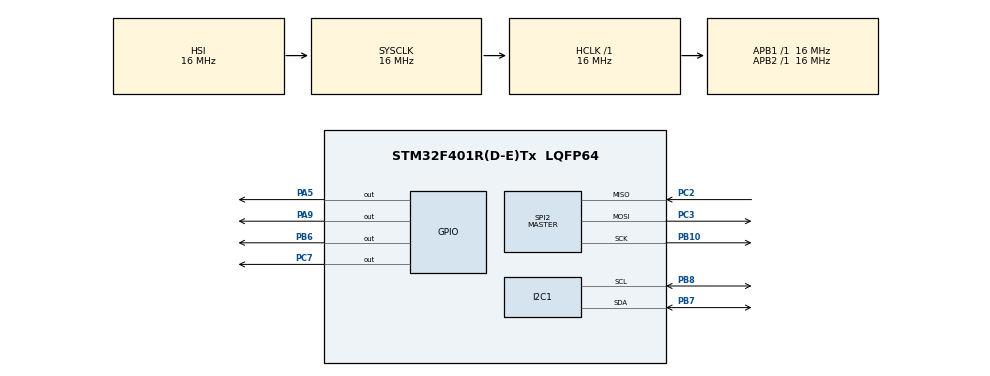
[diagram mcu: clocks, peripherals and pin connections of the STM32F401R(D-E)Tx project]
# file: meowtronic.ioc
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Dma.I2C1_TX.0.Direction=DMA_MEMORY_TO_PERIPH
Dma.I2C1_TX.0.FIFOMode=DMA_FIFOMODE_DISABLE
Dma.I2C1_TX.0.Instance=DMA1_Stream6
Dma.I2C1_TX.0.MemDataAlignment=DMA_MDATAALIGN_BYTE
Dma.I2C1_TX.0.MemInc=DMA_MINC_ENABLE
Dma.I2C1_TX.0.Mode=DMA_NORMAL
Dma.I2C1_TX.0.PeriphDataAlignment=DMA_PDATAALIGN_BYTE
Dma.I2C1_TX.0.PeriphInc=DMA_PINC_DISABLE
Dma.I2C1_TX.0.Priority=DMA_PRIORITY_LOW
Dma.Request0=I2C1_TX
Mcu.Family=STM32F4
Mcu.Name=STM32F401R(D-E)Tx
Mcu.Package=LQFP64
NVIC.DMA1_Stream6_IRQn=true\:0\:0\:false\:false\:true\:false\:true\:true
NVIC.I2C1_ER_IRQn=true\:0\:0\:false\:false\:true\:true\:true\:true
NVIC.I2C1_EV_IRQn=true\:0\:0\:false\:false\:true\:true\:true\:true
NVIC.PriorityGroup=NVIC_PRIORITYGROUP_4
PA13.Mode=Trace_Asynchronous_SW
PA13.Signal=SYS_JTMS-SWDIO
PA14.Mode=Trace_Asynchronous_SW
PA14.Signal=SYS_JTCK-SWCLK
PA5.Signal=GPIO_Output
PA9.Signal=GPIO_Output
PB10.Mode=Full_Duplex_Master
PB10.Signal=SPI2_SCK
PB3.Mode=Trace_Asynchronous_SW
PB3.Signal=SYS_JTDO-SWO
PB6.Signal=GPIO_Output
PB7.GPIO_Pu=GPIO_PULLUP
PB7.Mode=I2C
PB7.Signal=I2C1_SDA
PB8.GPIO_Pu=GPIO_PULLUP
PB8.Mode=I2C
PB8.Signal=I2C1_SCL
PC2.Mode=Full_Duplex_Master
PC2.Signal=SPI2_MISO
PC3.Mode=Full_Duplex_Master
PC3.Signal=SPI2_MOSI
PC7.Signal=GPIO_Output
ProjectManager.HeapSize=0x200
ProjectManager.StackSize=0x400
ProjectManager.TargetToolchain=STM32CubeIDE
RCC.AHBFreq_Value=16000000
RCC.APB1Freq_Value=16000000
RCC.APB2Freq_Value=16000000
RCC.CortexFreq_Value=16000000
RCC.HSE_VALUE=25000000
RCC.HSI_VALUE=16000000
RCC.LSE_VALUE=32768
RCC.SYSCLKFreq_VALUE=16000000
RCC.VCOOutputFreq_Value=192000000
SPI2.BaudRatePrescaler=SPI_BAUDRATEPRESCALER_2
SPI2.CLKPolarity=SPI_POLARITY_HIGH
SPI2.Direction=SPI_DIRECTION_2LINES
SPI2.Mode=SPI_MODE_MASTER
SPI2.VirtualType=VM_MASTER
board=custom

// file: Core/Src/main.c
/* USER CODE BEGIN Header */
/**
  ******************************************************************************
  * @file           : main.c
  * @brief          : Main program body
  ******************************************************************************
  * @attention
  *
  * Copyright (c) 2025 STMicroelectronics.
  * All rights reserved.
  *
  * This software is licensed under terms that can be found in the LICENSE file
  * in the root directory of this software component.
  * If no LICENSE file comes with this software, it is provided AS-IS.
  *
  ******************************************************************************
  */
/* USER CODE END Header */
#include "main.h"

I2C_HandleTypeDef hi2c1;
DMA_HandleTypeDef hdma_i2c1_tx;

SPI_HandleTypeDef hspi2;

/* USER CODE BEGIN PV */
#define SCALE_FACTOR 2280.0

/* USER CODE END PV */

void SystemClock_Config(void);
static void MX_GPIO_Init(void);
static void MX_DMA_Init(void);
static void MX_SPI2_Init(void);
static void MX_I2C1_Init(void);

int main(void)
{

  /* MCU Configuration--------------------------------------------------------*/

  /* Reset of all peripherals, Initializes the Flash interface and the Systick. */
  HAL_Init();

  /* Configure the system clock */
  SystemClock_Config();

  /* Initialize all configured peripherals */
  MX_GPIO_Init();
  MX_DMA_Init();
  MX_SPI2_Init();
  MX_I2C1_Init();
  /* USER CODE BEGIN 2 */
  HAL_Delay(1000);

  HX711_Init();
  ST7789_Init();
  ST7789_Fill_Color(LGRAY);
  char display_buffer[50];

  // Data to send

  //ST7789_Test();

  /* USER CODE END 2 */

  void writeEEPROM(uint16_t mem_address, uint8_t device_adress, uint8_t *data, uint16_t size) {
      HAL_StatusTypeDef status;

      status = HAL_I2C_Mem_Write(&hi2c1, device_adress, mem_address, I2C_MEMADD_SIZE_16BIT, data, size, HAL_MAX_DELAY);
      if (status != HAL_OK) {
          // Handle error
          Error_Handler();
      }

      // Wait for EEPROM internal write cycle (~5 ms)
      HAL_Delay(5);
  }

  // Function to read data from EEPROM
  void readEEPROM(uint16_t mem_address, uint8_t device_address, uint8_t *data, uint16_t size) {
      HAL_StatusTypeDef status;

      status = HAL_I2C_Mem_Read(&hi2c1, device_address, mem_address, I2C_MEMADD_SIZE_16BIT, data, size, HAL_MAX_DELAY);
      if (status != HAL_OK) {
          // Handle error
          Error_Handler();
      }
  }

  /* Infinite loop */
  /* USER CODE BEGIN WHILE */
  uint16_t mem_adress = 0x0124;
  uint8_t device_adress = 0x50 << 1;
  uint8_t data[1] = "H";
  uint8_t read_data[1];

  int init_point = HX711_Calibrate();
  int32_t raw_value = 0;

  while (1)
  {
    /* USER CODE END WHILE */

    /* USER CODE BEGIN 3 */
	  HAL_GPIO_TogglePin(GPIOA, GPIO_PIN_5);
	  //HAL_GPIO_WritePin(HX711_CLK_GPIO_Port, HX711_CLK_Pin, GPIO_PIN_RESET);

	  HAL_Delay(1000);

      // Check if HX711 is ready
      if (HX711_IsReady()) {
          // Read raw data from HX711

    	  raw_value = HX711_Read();
    	  writeEEPROM(mem_adress, device_adress, data, 1);
    	  HAL_Delay(500);

    	  readEEPROM(mem_adress, device_adress, read_data, 1);

          // Convert raw value to weight using calibration
          int32_t weight = 1000*(float)(raw_value-init_point) / SCALE_FACTOR;
          sprintf(display_buffer, "Raw: %ld Wt: %ld", raw_value, weight);

          // Print the result (replace with appropriate display or output in your system)
          ST7789_WriteString(10, 10, display_buffer, Font_7x10, WHITE, LGRAY);
          sprintf(display_buffer, "First element: %c", read_data[0]);
          ST7789_WriteString(10, 20, display_buffer, Font_7x10, WHITE, LGRAY);
          printf(display_buffer);

          printf("Raw Value: %ld\tWeight: %ld mg\n", raw_value, weight);

          // Delay for readability (adjust as needed)
          HAL_Delay(500);
      } else {
          printf("HX711 not ready\n");
          HAL_Delay(100);
      }
  }
  /* USER CODE END 3 */
}

void SystemClock_Config(void)
{
  RCC_OscInitTypeDef RCC_OscInitStruct = {0};
  RCC_ClkInitTypeDef RCC_ClkInitStruct = {0};

  /** Configure the main internal regulator output voltage
  */
  __HAL_RCC_PWR_CLK_ENABLE();
  __HAL_PWR_VOLTAGESCALING_CONFIG(PWR_REGULATOR_VOLTAGE_SCALE2);

  /** Initializes the RCC Oscillators according to the specified parameters
  * in the RCC_OscInitTypeDef structure.
  */
  RCC_OscInitStruct.OscillatorType = RCC_OSCILLATORTYPE_HSI;
  RCC_OscInitStruct.HSIState = RCC_HSI_ON;
  RCC_OscInitStruct.HSICalibrationValue = RCC_HSICALIBRATION_DEFAULT;
  RCC_OscInitStruct.PLL.PLLState = RCC_PLL_NONE;
  if (HAL_RCC_OscConfig(&RCC_OscInitStruct) != HAL_OK)
  {
    Error_Handler();
  }

  /** Initializes the CPU, AHB and APB buses clocks
  */
  RCC_ClkInitStruct.ClockType = RCC_CLOCKTYPE_HCLK|RCC_CLOCKTYPE_SYSCLK
                              |RCC_CLOCKTYPE_PCLK1|RCC_CLOCKTYPE_PCLK2;
  RCC_ClkInitStruct.SYSCLKSource = RCC_SYSCLKSOURCE_HSI;
  RCC_ClkInitStruct.AHBCLKDivider = RCC_SYSCLK_DIV1;
  RCC_ClkInitStruct.APB1CLKDivider = RCC_HCLK_DIV1;
  RCC_ClkInitStruct.APB2CLKDivider = RCC_HCLK_DIV1;

  if (HAL_RCC_ClockConfig(&RCC_ClkInitStruct, FLASH_LATENCY_0) != HAL_OK)
  {
    Error_Handler();
  }
}

static void MX_I2C1_Init(void)
{

  hi2c1.Instance = I2C1;
  hi2c1.Init.ClockSpeed = 100000;
  hi2c1.Init.DutyCycle = I2C_DUTYCYCLE_2;
  hi2c1.Init.OwnAddress1 = 0;
  hi2c1.Init.AddressingMode = I2C_ADDRESSINGMODE_7BIT;
  hi2c1.Init.DualAddressMode = I2C_DUALADDRESS_DISABLE;
  hi2c1.Init.OwnAddress2 = 0;
  hi2c1.Init.GeneralCallMode = I2C_GENERALCALL_DISABLE;
  hi2c1.Init.NoStretchMode = I2C_NOSTRETCH_DISABLE;
  if (HAL_I2C_Init(&hi2c1) != HAL_OK)
  {
    Error_Handler();
  }

}

static void MX_SPI2_Init(void)
{

  /* SPI2 parameter configuration*/
  hspi2.Instance = SPI2;
  hspi2.Init.Mode = SPI_MODE_MASTER;
  hspi2.Init.Direction = SPI_DIRECTION_2LINES;
  hspi2.Init.DataSize = SPI_DATASIZE_8BIT;
  hspi2.Init.CLKPolarity = SPI_POLARITY_HIGH;
  hspi2.Init.CLKPhase = SPI_PHASE_1EDGE;
  hspi2.Init.NSS = SPI_NSS_SOFT;
  hspi2.Init.BaudRatePrescaler = SPI_BAUDRATEPRESCALER_2;
  hspi2.Init.FirstBit = SPI_FIRSTBIT_MSB;
  hspi2.Init.TIMode = SPI_TIMODE_DISABLE;
  hspi2.Init.CRCCalculation = SPI_CRCCALCULATION_DISABLE;
  hspi2.Init.CRCPolynomial = 10;
  if (HAL_SPI_Init(&hspi2) != HAL_OK)
  {
    Error_Handler();
  }

}

static void MX_DMA_Init(void)
{

  /* DMA controller clock enable */
  __HAL_RCC_DMA1_CLK_ENABLE();

  /* DMA interrupt init */
  /* DMA1_Stream6_IRQn interrupt configuration */
  HAL_NVIC_SetPriority(DMA1_Stream6_IRQn, 0, 0);
  HAL_NVIC_EnableIRQ(DMA1_Stream6_IRQn);

}

static void MX_GPIO_Init(void)
{
  GPIO_InitTypeDef GPIO_InitStruct = {0};

  /* GPIO Ports Clock Enable */
  __HAL_RCC_GPIOC_CLK_ENABLE();
  __HAL_RCC_GPIOA_CLK_ENABLE();
  __HAL_RCC_GPIOB_CLK_ENABLE();

  /*Configure GPIO pin Output Level */
  HAL_GPIO_WritePin(GPIOA, GPIO_PIN_5|GPIO_PIN_9, GPIO_PIN_RESET);

  /*Configure GPIO pin Output Level */
  HAL_GPIO_WritePin(GPIOC, GPIO_PIN_7, GPIO_PIN_RESET);

  /*Configure GPIO pin Output Level */
  HAL_GPIO_WritePin(GPIOB, GPIO_PIN_6, GPIO_PIN_RESET);

  /*Configure GPIO pins : PA5 PA9 */
  GPIO_InitStruct.Pin = GPIO_PIN_5|GPIO_PIN_9;
  GPIO_InitStruct.Mode = GPIO_MODE_OUTPUT_PP;
  GPIO_InitStruct.Pull = GPIO_NOPULL;
  GPIO_InitStruct.Speed = GPIO_SPEED_FREQ_LOW;
  HAL_GPIO_Init(GPIOA, &GPIO_InitStruct);

  /*Configure GPIO pin : PC7 */
  GPIO_InitStruct.Pin = GPIO_PIN_7;
  GPIO_InitStruct.Mode = GPIO_MODE_OUTPUT_PP;
  GPIO_InitStruct.Pull = GPIO_NOPULL;
  GPIO_InitStruct.Speed = GPIO_SPEED_FREQ_LOW;
  HAL_GPIO_Init(GPIOC, &GPIO_InitStruct);

  /*Configure GPIO pin : PB6 */
  GPIO_InitStruct.Pin = GPIO_PIN_6;
  GPIO_InitStruct.Mode = GPIO_MODE_OUTPUT_PP;
  GPIO_InitStruct.Pull = GPIO_NOPULL;
  GPIO_InitStruct.Speed = GPIO_SPEED_FREQ_LOW;
  HAL_GPIO_Init(GPIOB, &GPIO_InitStruct);

}

void Error_Handler(void)
{
  __disable_irq();
  while (1)
  {
  }
}
